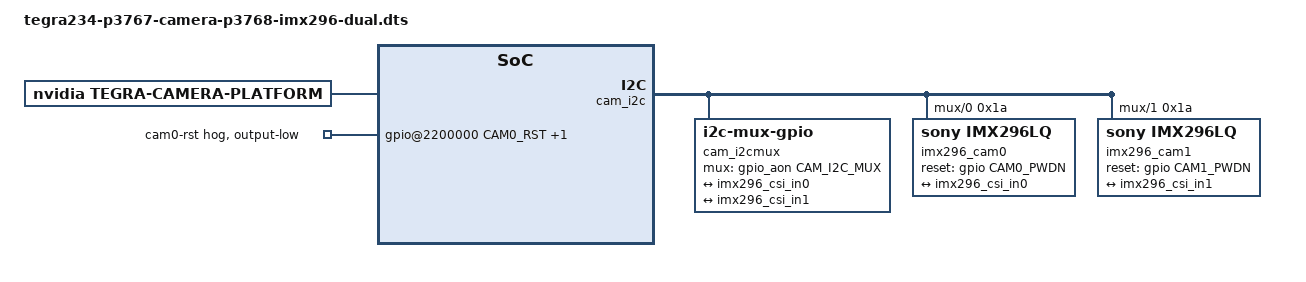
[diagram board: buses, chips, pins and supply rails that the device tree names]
// SPDX-License-Identifier: GPL-2.0-only
// SPDX-FileCopyrightText: Jonathan Peclat
//
// Dual IMX296 overlay: one RPi Global Shutter Camera on EACH 22-pin CSI
// connector of the Jetson Orin Nano/NX devkit carrier (p3768):
//   CAM0 (J20) -> serial_b / port-index 1 -> /dev/video0
//   CAM1 (J21) -> serial_c / port-index 2 -> /dev/video1
// Structure follows NVIDIA's tegra234-p3767-camera-p3768-imx477-dual
// overlay; per-camera content matches the single -A and -C IMX296
// overlays (which remain available for single-camera setups; do not
// co-apply them with this one).

/dts-v1/;
/plugin/;

// GPIO definitions for Jetson Orin Nano/NX devkit
// Source: confirmed from IMX219-A overlay
#define CAM0_RST    TEGRA234_MAIN_GPIO(H, 3)   // gpio-391, CAM0 reset (unused by IMX296)
#define CAM1_RST    TEGRA234_MAIN_GPIO(AC, 1)  // CAM1 reset (unused by IMX296)
#define CAM0_PWDN   TEGRA234_MAIN_GPIO(H, 6)   // gpio-394, CAM0 XSHUTDOWN
#define CAM1_PWDN   TEGRA234_MAIN_GPIO(AC, 0)  // gpio-486, CAM1 XSHUTDOWN
#define CAM_I2C_MUX TEGRA234_AON_GPIO(CC, 3)   // gpio-331, I2C mux select

#include <dt-bindings/tegra234-p3767-0000-common.h>
#include <dt-bindings/clock/tegra234-clock.h>

/ {
    overlay-name = "Camera IMX296 Dual";
    jetson-header-name = "Jetson 22pin CSI Connector";
    compatible = JETSON_COMPATIBLE_P3768;

    fragment@0 {
        target-path = "/";
        __overlay__ {
            // VI (Video Input) - DMA engine, one channel per camera
            tegra-capture-vi {
                num-channels = <2>;
                ports {
                    #address-cells = <1>;
                    #size-cells = <0>;
                    vi_port0: port@0 {
                        reg = <0>;
                        imx296_vi_in0: endpoint {
                            port-index = <1>;   // serial_b = CAM0
                            bus-width = <1>;    // 1 MIPI lane
                            remote-endpoint = <&imx296_csi_out0>;
                        };
                    };
                    vi_port1: port@1 {
                        reg = <1>;
                        imx296_vi_in1: endpoint {
                            port-index = <2>;   // serial_c = CAM1
                            bus-width = <1>;    // 1 MIPI lane
                            remote-endpoint = <&imx296_csi_out1>;
                        };
                    };
                };
            };

            // tegra-camera-platform - module registry
            tegra-camera-platform {
                compatible = "nvidia, tegra-camera-platform";
                modules {
                    module0 {
                        badge = "imx296_front_imx296";
                        position = "front";
                        orientation = "1";
                        drivernode0 {
                            pcl_id = "v4l2_sensor";
                            sysfs-device-tree = "/sys/firmware/devicetree/base/bus@0/cam_i2cmux/i2c@0/imx296_a@1a";
                        };
                    };
                    module1 {
                        badge = "imx296_rear_imx296";
                        position = "rear";
                        orientation = "1";
                        drivernode0 {
                            pcl_id = "v4l2_sensor";
                            sysfs-device-tree = "/sys/firmware/devicetree/base/bus@0/cam_i2cmux/i2c@1/imx296_c@1a";
                        };
                    };
                };
            };

            bus@0 {
                // NVCSI - CSI deserializer, one channel per camera
                host1x@13e00000 {
                    nvcsi@15a00000 {
                        num-channels = <2>;
                        #address-cells = <1>;
                        #size-cells = <0>;
                        // channel@0 for CAM0
                        csi_chan0: channel@0 {
                            reg = <0>;
                            ports {
                                #address-cells = <1>;
                                #size-cells = <0>;
                                // port@0 = input from sensor
                                csi_chan0_port0: port@0 {
                                    reg = <0>;
                                    imx296_csi_in0: endpoint@0 {
                                        port-index = <1>;   // serial_b = CAM0
                                        bus-width = <1>;    // 1 MIPI lane
                                        remote-endpoint = <&imx296_out0>;
                                    };
                                };
                                // port@1 = output to VI
                                csi_chan0_port1: port@1 {
                                    reg = <1>;
                                    imx296_csi_out0: endpoint@1 {
                                        remote-endpoint = <&imx296_vi_in0>;
                                    };
                                };
                            };
                        };
                        // channel@1 for CAM1
                        csi_chan1: channel@1 {
                            reg = <1>;
                            ports {
                                #address-cells = <1>;
                                #size-cells = <0>;
                                // port@0 = input from sensor
                                csi_chan1_port0: port@0 {
                                    reg = <0>;
                                    imx296_csi_in1: endpoint@2 {
                                        port-index = <2>;   // serial_c = CAM1
                                        bus-width = <1>;    // 1 MIPI lane
                                        remote-endpoint = <&imx296_out1>;
                                    };
                                };
                                // port@1 = output to VI
                                csi_chan1_port1: port@1 {
                                    reg = <1>;
                                    imx296_csi_out1: endpoint@3 {
                                        remote-endpoint = <&imx296_vi_in1>;
                                    };
                                };
                            };
                        };
                    };
                };

                // cam_i2cmux - GPIO controlled I2C mux
                // i2c@0 = CAM0 (J20), i2c@1 = CAM1 (J21)
                cam_i2cmux {
                    status = "okay";
                    compatible = "i2c-mux-gpio";
                    #address-cells = <1>;
                    #size-cells = <0>;
                    mux-gpios = <&gpio_aon CAM_I2C_MUX GPIO_ACTIVE_HIGH>;
                    i2c-parent = <&cam_i2c>;

                    // CAM0 I2C bus
                    i2c@0 {
                        status = "okay";
                        reg = <0>;
                        #address-cells = <1>;
                        #size-cells = <0>;

                        // IMX296 sensor node, I2C address 0x1a
                        imx296_cam0: imx296_a@1a {
                            compatible = "sony,imx296lq";  // color variant
                            reg = <0x1a>;
                            devnode = "video0";

                            physical_w = "4.968";          // 1456 pixels * 3.45um
                            physical_h = "3.723";          // 1088 pixels * 3.45um
                            sensor_model = "imx296";

                            use_sensor_mode_id = "false";

                            /*
                             * XSHUTDOWN - active HIGH to exit standby
                             * CAM0_PWDN = TEGRA234_MAIN_GPIO(H, 6) = gpio-394
                             */
                            reset-gpios = <&gpio CAM0_PWDN GPIO_ACTIVE_HIGH>;

                            /*
                             * Mode 0: 1456x1088 full resolution
                             * (all values identical to the single -A overlay)
                             */
                            mode0 {
                                mclk_khz = "54000";
                                num_lanes = "1";            // 1 MIPI lane
                                tegra_sinterface = "serial_b";
                                phy_mode = "DPHY";

                                discontinuous_clk = "yes";
                                lane_polarity = "6"; // CAM0/port A lane polarity quirk
                                dpcm_enable = "false";
                                cil_settletime = "0";

                                csi_pixel_bit_depth = "10";
                                mode_type = "bayer";
                                pixel_phase = "rggb"; // confirmed empirically (no 180-deg rotation here)

                                active_w = "1456";
                                active_h = "1088";
                                readout_orientation = "0";

                                line_length = "1760";
                                inherent_gain = "1";

                                pix_clk_hz = "118800000"; // 1188Mbps / 10

                                gain_factor = "1";
                                min_gain_val = "0";    // 0 dB = 1x
                                max_gain_val = "480";  // 48.0 dB = ~251x
                                step_gain_val = "1";
                                default_gain = "0";    // 1x gain

                                min_hdr_ratio = "1";
                                max_hdr_ratio = "1";

                                framerate_factor = "1000000";
                                min_framerate = "1000000";    // 1 fps
                                max_framerate = "60000000";   // 60 fps
                                step_framerate = "1";
                                default_framerate = "60000000";

                                exposure_factor = "1000000";
                                min_exp_time = "15";       // ~1 line period
                                max_exp_time = "15699";    // (1118-4) * 14.81us
                                step_exp_time = "1";
                                default_exp_time = "10000"; // 10ms default

                                embedded_metadata_height = "2"; // IMX296 sends 2 embedded lines
                            };

                            /*
                             * Mode 1: 1280x720 centered ROI crop @ 90 fps
                             * Same line period (HMAX=1100 -> 14.81us);
                             * VMAX drops to 750 -> exactly 90.0 fps.
                             * Crop left=88 top=184 (even -> RGGB preserved).
                             */
                            mode1 {
                                mclk_khz = "54000";
                                num_lanes = "1";            // 1 MIPI lane
                                tegra_sinterface = "serial_b";
                                phy_mode = "DPHY";

                                discontinuous_clk = "yes";
                                lane_polarity = "6";
                                dpcm_enable = "false";
                                cil_settletime = "0";

                                csi_pixel_bit_depth = "10";
                                mode_type = "bayer";
                                pixel_phase = "rggb";

                                active_w = "1280";
                                active_h = "720";
                                readout_orientation = "0";

                                line_length = "1760";
                                inherent_gain = "1";

                                pix_clk_hz = "118800000"; // 1188Mbps / 10

                                gain_factor = "1";
                                min_gain_val = "0";    // 0 dB = 1x
                                max_gain_val = "480";  // 48.0 dB = ~251x
                                step_gain_val = "1";
                                default_gain = "0";    // 1x gain

                                min_hdr_ratio = "1";
                                max_hdr_ratio = "1";

                                framerate_factor = "1000000";
                                min_framerate = "1000000";    // 1 fps
                                max_framerate = "90000000";   // 90 fps (VMAX=750)
                                step_framerate = "1";
                                default_framerate = "90000000";

                                exposure_factor = "1000000";
                                min_exp_time = "15";       // ~1 line period
                                max_exp_time = "11066";    // (750-4)*14.81us + 14.26us
                                step_exp_time = "1";
                                default_exp_time = "8000"; // 8ms default

                                embedded_metadata_height = "2"; // IMX296 sends 2 embedded lines
                            };

                            ports {
                                #address-cells = <1>;
                                #size-cells = <0>;
                                port@0 {
                                    reg = <0>;
                                    imx296_out0: endpoint {
                                        status = "okay";
                                        port-index = <1>;   // serial_b = CAM0
                                        bus-width = <1>;    // 1 MIPI lane
                                        remote-endpoint = <&imx296_csi_in0>;
                                    };
                                };
                            };
                        };
                    };

                    // CAM1 I2C bus
                    i2c@1 {
                        status = "okay";
                        reg = <1>;
                        #address-cells = <1>;
                        #size-cells = <0>;

                        // IMX296 sensor node, I2C address 0x1a
                        imx296_cam1: imx296_c@1a {
                            compatible = "sony,imx296lq";  // color variant
                            reg = <0x1a>;
                            devnode = "video1";

                            physical_w = "4.968";          // 1456 pixels * 3.45um
                            physical_h = "3.723";          // 1088 pixels * 3.45um
                            sensor_model = "imx296";

                            use_sensor_mode_id = "false";

                            /*
                             * XSHUTDOWN - active HIGH to exit standby
                             * CAM1_PWDN = TEGRA234_MAIN_GPIO(AC, 0) = gpio-486
                             */
                            reset-gpios = <&gpio CAM1_PWDN GPIO_ACTIVE_HIGH>;

                            /*
                             * Mode 0: 1456x1088 full resolution
                             * (all values identical to the single -C overlay)
                             */
                            mode0 {
                                mclk_khz = "54000";
                                num_lanes = "1";            // 1 MIPI lane
                                tegra_sinterface = "serial_c";
                                phy_mode = "DPHY";

                                discontinuous_clk = "yes";
                                lane_polarity = "0";
                                dpcm_enable = "false";
                                cil_settletime = "0";

                                csi_pixel_bit_depth = "10";
                                mode_type = "bayer";
                                pixel_phase = "rggb"; // confirmed empirically (no 180-deg rotation here)

                                active_w = "1456";
                                active_h = "1088";
                                readout_orientation = "0";

                                line_length = "1760";
                                inherent_gain = "1";

                                pix_clk_hz = "118800000"; // 1188Mbps / 10

                                gain_factor = "1";
                                min_gain_val = "0";    // 0 dB = 1x
                                max_gain_val = "480";  // 48.0 dB = ~251x
                                step_gain_val = "1";
                                default_gain = "0";    // 1x gain

                                min_hdr_ratio = "1";
                                max_hdr_ratio = "1";

                                framerate_factor = "1000000";
                                min_framerate = "1000000";    // 1 fps
                                max_framerate = "60000000";   // 60 fps
                                step_framerate = "1";
                                default_framerate = "60000000";

                                exposure_factor = "1000000";
                                min_exp_time = "15";       // ~1 line period
                                max_exp_time = "15699";    // (1118-4) * 14.81us
                                step_exp_time = "1";
                                default_exp_time = "10000"; // 10ms default

                                embedded_metadata_height = "2"; // IMX296 sends 2 embedded lines
                            };

                            /*
                             * Mode 1: 1280x720 centered ROI crop @ 90 fps
                             * Same line period (HMAX=1100 -> 14.81us);
                             * VMAX drops to 750 -> exactly 90.0 fps.
                             * Crop left=88 top=184 (even -> RGGB preserved).
                             */
                            mode1 {
                                mclk_khz = "54000";
                                num_lanes = "1";            // 1 MIPI lane
                                tegra_sinterface = "serial_c";
                                phy_mode = "DPHY";

                                discontinuous_clk = "yes";
                                lane_polarity = "0";
                                dpcm_enable = "false";
                                cil_settletime = "0";

                                csi_pixel_bit_depth = "10";
                                mode_type = "bayer";
                                pixel_phase = "rggb";

                                active_w = "1280";
                                active_h = "720";
                                readout_orientation = "0";

                                line_length = "1760";
                                inherent_gain = "1";

                                pix_clk_hz = "118800000"; // 1188Mbps / 10

                                gain_factor = "1";
                                min_gain_val = "0";    // 0 dB = 1x
                                max_gain_val = "480";  // 48.0 dB = ~251x
                                step_gain_val = "1";
                                default_gain = "0";    // 1x gain

                                min_hdr_ratio = "1";
                                max_hdr_ratio = "1";

                                framerate_factor = "1000000";
                                min_framerate = "1000000";    // 1 fps
                                max_framerate = "90000000";   // 90 fps (VMAX=750)
                                step_framerate = "1";
                                default_framerate = "90000000";

                                exposure_factor = "1000000";
                                min_exp_time = "15";       // ~1 line period
                                max_exp_time = "11066";    // (750-4)*14.81us + 14.26us
                                step_exp_time = "1";
                                default_exp_time = "8000"; // 8ms default

                                embedded_metadata_height = "2"; // IMX296 sends 2 embedded lines
                            };

                            ports {
                                #address-cells = <1>;
                                #size-cells = <0>;
                                port@0 {
                                    reg = <0>;
                                    imx296_out1: endpoint {
                                        status = "okay";
                                        port-index = <2>;   // serial_c = CAM1
                                        bus-width = <1>;    // 1 MIPI lane
                                        remote-endpoint = <&imx296_csi_in1>;
                                    };
                                };
                            };
                        };
                    };
                };

                // GPIO hogs - park the unused legacy CAM reset lines low at boot.
                // Deliberately NOT hogging CAM0_PWDN/CAM1_PWDN: the driver
                // gpio_request()s them, and a live hog would fail probe -EBUSY.
                gpio@2200000 {
                    camera-control-output-low {
                        gpio-hog;
                        output-low;
                        gpios = <CAM0_RST 0 CAM1_RST 0>;
                        label = "cam0-rst", "cam1-rst";
                    };
                };
            };
        };
    };
};
